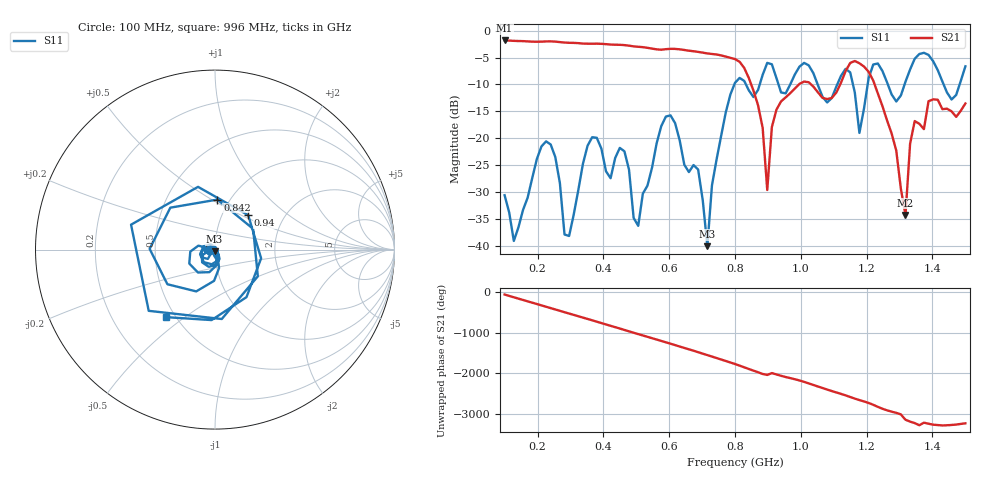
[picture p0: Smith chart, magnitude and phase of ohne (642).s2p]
! NanoVNA-App
! Date: 2025-09-25 14:25:48
! Start: 100MHz Stop: 1,5GHz Points: 101
! S-Parameter data: F S11 S21 S12 S22
# Hz S RI R 50
!  Frequency  S11_Real  S11_Imag  S21_Real  S21_Imag  S12_Real  S12_Imag  S22_Real  S22_Imag
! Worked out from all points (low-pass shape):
!   101 points, 100 MHz to 1.5 GHz, reference 50 ohm
!   highest |S21| = -1.79 dB at 100 MHz (marker M1); lowest = -34.3 dB at 1.318 GHz (marker M2)
!   |S21| within 3 dB of the highest: start of sweep to 771.4 MHz
!   lowest |S11| = -40.1 dB at 716 MHz (marker M3), VSWR 1.02, Z = 49.8 - j0.954 ohm
!   |S11| at or under -10 dB: start of sweep to 798 MHz; 833.3 MHz to 875.1 MHz (41.78 MHz wide, 4.89 % of centre); 1.051 GHz to 1.111 GHz (59.46 MHz wide, 5.5 % of centre) (the widest 3 of 7)
!   S12 and S22 are empty: the file has one direction only
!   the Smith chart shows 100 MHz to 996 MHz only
!   S11 on the Smith chart (normalised r, x): 100 MHz: 0.94, -0.01; 842 MHz: 0.88, +0.53; 940 MHz: 1.32, +0.55; 996 MHz: 0.45, -0.43
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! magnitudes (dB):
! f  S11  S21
! 100 MHz  -30.6  -1.8
! 128 MHz  -39.1  -1.9
! 226 MHz  -20.6  -2.0
! 296 MHz  -38.2  -2.2
! 338 MHz  -24.8  -2.4
! 464 MHz  -22.4  -2.7
! 506 MHz  -36.3  -3.0
! 576 MHz  -17.8  -3.5
! 688 MHz  -25.8  -3.9
! 716 MHz  -40.1  -4.2
! 800 MHz  -9.7  -5.3
! 842 MHz  -11.1  -8.8
! 898 MHz  -6.0  -29.7
! 940 MHz  -11.5  -13.1
! 996 MHz  -6.7  -9.9
! 1.038 GHz  -7.9  -10.4
! 1.178 GHz  -19.0  -6.0
! 1.22 GHz  -6.3  -9.3
! 1.276 GHz  -11.9  -19.1
! 1.318 GHz  -9.5  -34.3
! 1.346 GHz  -5.2  -16.8
! 1.5 GHz  -6.6  -13.5
